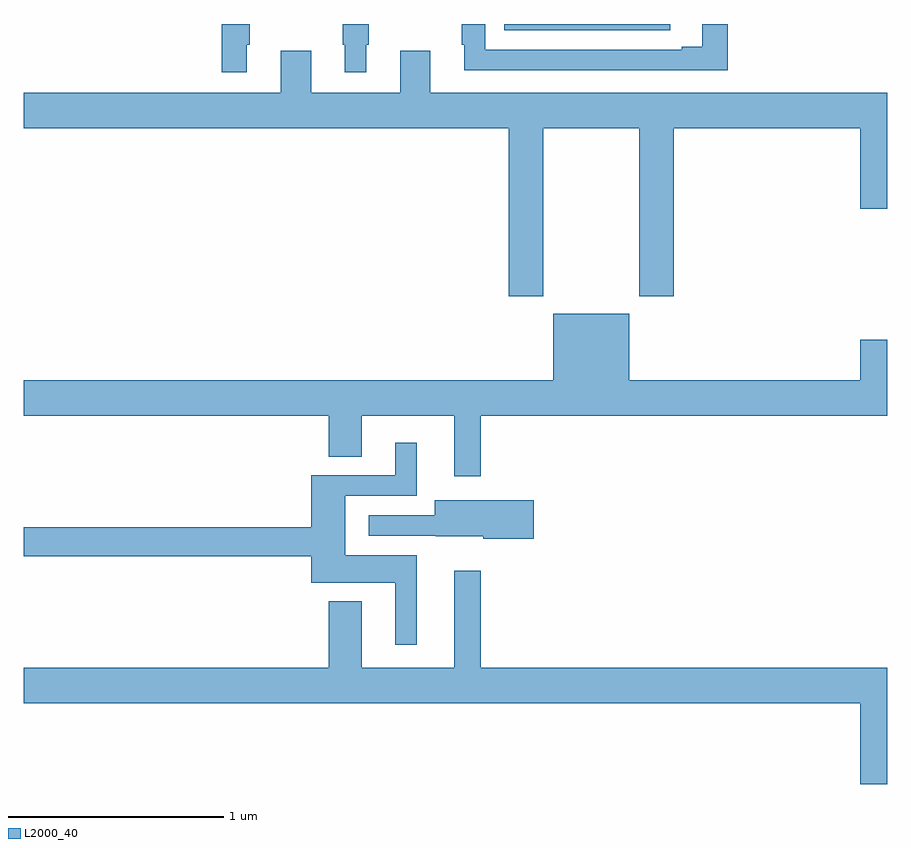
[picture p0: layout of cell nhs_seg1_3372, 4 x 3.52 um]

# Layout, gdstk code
import gdstk
lib = gdstk.Library(unit=1e-6, precision=1e-09)
def R(c, l, rs):  # rectangles x0, y0, x1, y1
    for r in rs: c.add(gdstk.rectangle(r[:2], r[2:], *l))
def P(c, l, *ps):  # polygons
    for p in ps: c.add(gdstk.Polygon(p, *l))
L2000_40 = (2000, 40)

nhs_seg1_3372 = lib.new_cell('nhs_seg1_3372')
R(nhs_seg1_3372, L2000_40, [(295.226,568.17,295.996,568.199)])
P(nhs_seg1_3372, L2000_40, [(294.034,568.103),(294.046,568.103),(294.046,568.199),(293.917,568.199),(293.917,567.975),(294.034,567.975)],
  [(294.586,568.103),(294.598,568.103),(294.598,568.199),(294.477,568.199),(294.477,568.103),(294.488,568.103),(294.488,567.975),(294.586,567.975)],
  [(296.261,568.199),(296.144,568.199),(296.144,568.093),(296.048,568.093),(296.048,568.08),(295.137,568.08),(295.137,568.199),(295.029,568.199),(295.029,568.103),(295.04,568.103),(295.04,567.984),(296.261,567.984)],
  [(295.407,567.716),(295.852,567.716),(295.852,566.937),(296.012,566.937),(296.012,567.716),(296.876,567.716),(296.876,567.342),(297,567.342),(297,567.88),(294.883,567.88),(294.883,568.075),(294.743,568.075),(294.743,567.88),(294.331,567.88),(294.331,568.075),(294.191,568.075),(294.191,567.88),(293,567.88),(293,567.716),(295.247,567.716),(295.247,566.937),(295.407,566.937)],
  [(297,566.737),(296.876,566.737),(296.876,566.548),(295.804,566.548),(295.804,566.857),(295.454,566.857),(295.454,566.548),(293,566.548),(293,566.384),(294.413,566.384),(294.413,566.194),(294.565,566.194),(294.565,566.384),(294.995,566.384),(294.995,566.103),(295.117,566.103),(295.117,566.384),(297,566.384)],
  [(294.82,565.738),(294.49,565.738),(294.49,566.013),(294.82,566.013),(294.82,566.26),(294.722,566.26),(294.722,566.109),(294.332,566.109),(294.332,565.868),(293,565.868),(293,565.732),(294.332,565.732),(294.332,565.61),(294.722,565.61),(294.722,565.323),(294.82,565.323)],
  [(295.363,565.992),(294.905,565.992),(294.905,565.923),(294.597,565.923),(294.597,565.827),(294.909,565.827),(294.909,565.826),(295.128,565.826),(295.128,565.814),(295.363,565.814)],
  [(297,565.216),(295.117,565.216),(295.117,565.666),(294.995,565.666),(294.995,565.216),(294.565,565.216),(294.565,565.525),(294.413,565.525),(294.413,565.216),(293,565.216),(293,565.052),(296.876,565.052),(296.876,564.678),(297,564.678)])

lib.write_gds('nhs_seg1_3372.gds')
